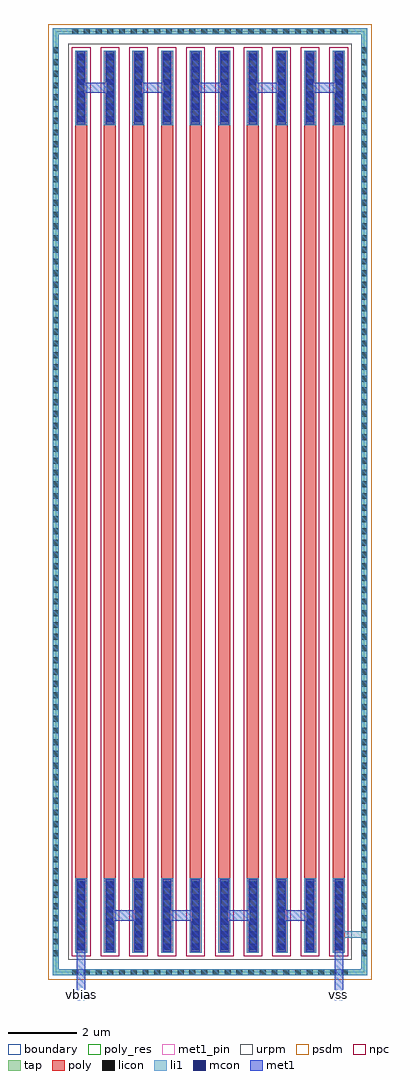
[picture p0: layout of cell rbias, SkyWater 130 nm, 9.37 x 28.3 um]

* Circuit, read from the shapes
.subckt rbias vbias vss
XR1 sky130_fd_pr__res_xhigh_po_0p35_7TSF23_0/R1_0 vbias vss sky130_fd_pr__res_xhigh_po w=0.35 l=21.88
XR2 sky130_fd_pr__res_xhigh_po_0p35_7TSF23_0/R1_0 sky130_fd_pr__res_xhigh_po_0p35_7TSF23_0/R2_1 vss sky130_fd_pr__res_xhigh_po w=0.35 l=21.88
XR3 sky130_fd_pr__res_xhigh_po_0p35_7TSF23_0/R1_2 sky130_fd_pr__res_xhigh_po_0p35_7TSF23_0/R2_1 vss sky130_fd_pr__res_xhigh_po w=0.35 l=21.88
XR4 sky130_fd_pr__res_xhigh_po_0p35_7TSF23_0/R1_2 sky130_fd_pr__res_xhigh_po_0p35_7TSF23_0/R2_3 vss sky130_fd_pr__res_xhigh_po w=0.35 l=21.88
XR5 sky130_fd_pr__res_xhigh_po_0p35_7TSF23_0/R1_4 sky130_fd_pr__res_xhigh_po_0p35_7TSF23_0/R2_3 vss sky130_fd_pr__res_xhigh_po w=0.35 l=21.88
XR6 sky130_fd_pr__res_xhigh_po_0p35_7TSF23_0/R1_4 sky130_fd_pr__res_xhigh_po_0p35_7TSF23_0/R2_5 vss sky130_fd_pr__res_xhigh_po w=0.35 l=21.88
XR7 sky130_fd_pr__res_xhigh_po_0p35_7TSF23_0/R1_6 sky130_fd_pr__res_xhigh_po_0p35_7TSF23_0/R2_5 vss sky130_fd_pr__res_xhigh_po w=0.35 l=21.88
XR8 sky130_fd_pr__res_xhigh_po_0p35_7TSF23_0/R1_6 sky130_fd_pr__res_xhigh_po_0p35_7TSF23_0/R2_7 vss sky130_fd_pr__res_xhigh_po w=0.35 l=21.88
XR9 sky130_fd_pr__res_xhigh_po_0p35_7TSF23_0/R1_8 sky130_fd_pr__res_xhigh_po_0p35_7TSF23_0/R2_7 vss sky130_fd_pr__res_xhigh_po w=0.35 l=21.88
XR10 sky130_fd_pr__res_xhigh_po_0p35_7TSF23_0/R1_8 vss vss sky130_fd_pr__res_xhigh_po w=0.35 l=21.88
.ends

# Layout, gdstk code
import gdstk
lib = gdstk.Library(unit=1e-6, precision=1e-09)
def R(c, l, rs):  # rectangles x0, y0, x1, y1
    for r in rs: c.add(gdstk.rectangle(r[:2], r[2:], *l))
def A(c, l, x, y, w, h, nx, ny, dx, dy):  # array of equal rectangles
    R(c, l, [(x+i*dx, y+j*dy, x+i*dx+w, y+j*dy+h) for i in range(nx) for j in range(ny)])
tap = (65, 44)
poly_res = (66, 13)
poly = (66, 20)
licon = (66, 44)
li1 = (67, 20)
mcon = (67, 44)
met1_pin = (68, 16)
met1 = (68, 20)
urpm = (79, 20)
psdm = (94, 20)
npc = (95, 20)
boundary = (235, 4)

sky130_fd_pr__res_xhigh_ = lib.new_cell('sky130_fd_pr__res_xhigh_po_0p35_7TSF23')
R(sky130_fd_pr__res_xhigh_, tap, [(-4.56,-13.73,4.56,-13.56), (-4.56,-13.56,-4.39,13.56), (4.39,-13.56,4.56,13.56), (-4.56,13.56,4.56,13.73)])
A(sky130_fd_pr__res_xhigh_, poly_res, -3.91, -11, 0.35, 22, 10, 1, 0.83, 0)
A(sky130_fd_pr__res_xhigh_, poly, -3.91, -13.08, 0.35, 26.16, 10, 1, 0.83, 0)
A(sky130_fd_pr__res_xhigh_, licon, -3.995, -13.73, 0.17, 0.17, 24, 2, 0.34, 27.29)
A(sky130_fd_pr__res_xhigh_, licon, -4.56, -13.175, 0.17, 0.17, 1, 78, 0, 0.34)
A(sky130_fd_pr__res_xhigh_, licon, 4.39, -13.175, 0.17, 0.17, 1, 78, 0, 0.34)
A(sky130_fd_pr__res_xhigh_, licon, -3.83, -13, 0.19, 2, 10, 2, 0.83, 24)
A(sky130_fd_pr__res_xhigh_, li1, -3.91, -13.08, 0.35, 2.16, 10, 2, 0.83, 24)
R(sky130_fd_pr__res_xhigh_, li1, [(-4.56,-13.73,4.56,-13.56), (-4.56,-13.56,-4.39,13.56), (4.39,-13.56,4.56,13.56), (-4.56,13.56,4.56,13.73)])
A(sky130_fd_pr__res_xhigh_, mcon, -3.82, -12.985, 0.17, 0.17, 10, 6, 0.83, 0.36)
A(sky130_fd_pr__res_xhigh_, mcon, -3.82, 11.01, 0.17, 0.17, 10, 6, 0.83, 0.36)
A(sky130_fd_pr__res_xhigh_, met1, -3.86, -13.05, 0.25, 2.105, 10, 2, 0.83, 23.995)
R(sky130_fd_pr__res_xhigh_, urpm, [(-4.11,-13.28,4.11,13.28)])
R(sky130_fd_pr__res_xhigh_, psdm, [(-4.685,-13.855,4.685,13.855)])
A(sky130_fd_pr__res_xhigh_, npc, -4.005, -13.175, 0.54, 26.35, 10, 1, 0.83, 0)
R(sky130_fd_pr__res_xhigh_, boundary, [(-4.475,-13.645,4.475,13.645)])
sky130_fd_pr__res_xhigh_.add(gdstk.Label('B', (0,-13.645), layer=67, texttype=5))
sky130_fd_pr__res_xhigh_.add(gdstk.Label('R1_0', (-3.735,12.905), layer=67, texttype=5))
sky130_fd_pr__res_xhigh_.add(gdstk.Label('R2_0', (-3.735,-12.905), layer=67, texttype=5))
sky130_fd_pr__res_xhigh_.add(gdstk.Label('R1_1', (-2.905,12.905), layer=67, texttype=5))
sky130_fd_pr__res_xhigh_.add(gdstk.Label('R2_1', (-2.905,-12.905), layer=67, texttype=5))
sky130_fd_pr__res_xhigh_.add(gdstk.Label('R1_2', (-2.075,12.905), layer=67, texttype=5))
sky130_fd_pr__res_xhigh_.add(gdstk.Label('R2_2', (-2.075,-12.905), layer=67, texttype=5))
sky130_fd_pr__res_xhigh_.add(gdstk.Label('R1_3', (-1.245,12.905), layer=67, texttype=5))
sky130_fd_pr__res_xhigh_.add(gdstk.Label('R2_3', (-1.245,-12.905), layer=67, texttype=5))
sky130_fd_pr__res_xhigh_.add(gdstk.Label('R1_4', (-0.415,12.905), layer=67, texttype=5))
sky130_fd_pr__res_xhigh_.add(gdstk.Label('R2_4', (-0.415,-12.905), layer=67, texttype=5))
sky130_fd_pr__res_xhigh_.add(gdstk.Label('R1_5', (0.415,12.905), layer=67, texttype=5))
sky130_fd_pr__res_xhigh_.add(gdstk.Label('R2_5', (0.415,-12.905), layer=67, texttype=5))
sky130_fd_pr__res_xhigh_.add(gdstk.Label('R1_6', (1.245,12.905), layer=67, texttype=5))
sky130_fd_pr__res_xhigh_.add(gdstk.Label('R2_6', (1.245,-12.905), layer=67, texttype=5))
sky130_fd_pr__res_xhigh_.add(gdstk.Label('R1_7', (2.075,12.905), layer=67, texttype=5))
sky130_fd_pr__res_xhigh_.add(gdstk.Label('R2_7', (2.075,-12.905), layer=67, texttype=5))
sky130_fd_pr__res_xhigh_.add(gdstk.Label('R1_8', (2.905,12.905), layer=67, texttype=5))
sky130_fd_pr__res_xhigh_.add(gdstk.Label('R2_8', (2.905,-12.905), layer=67, texttype=5))
sky130_fd_pr__res_xhigh_.add(gdstk.Label('R1_9', (3.735,12.905), layer=67, texttype=5))
sky130_fd_pr__res_xhigh_.add(gdstk.Label('R2_9', (3.735,-12.905), layer=67, texttype=5))

rbias = lib.new_cell('rbias')
R(rbias, li1, [(8.26,1,9.035,1.2)])
R(rbias, met1_pin, [(0.7,-0.7,0.78,-0.6), (8.17,-0.7,8.25,-0.6)])
A(rbias, met1, 1.445, 1.5, 1.08, 0.3, 4, 1, 1.66, 0)
A(rbias, met1, 0.615, 25.5, 1.08, 0.3, 5, 1, 1.66, 0)
R(rbias, met1, [(0.615,-0.8,0.865,1.3), (8.085,-0.8,8.335,1.3)])
rbias.add(gdstk.Reference(sky130_fd_pr__res_xhigh_, (4.475,13.645)))
rbias.add(gdstk.Label('vbias', (0.74,-0.65), layer=68, texttype=5))
rbias.add(gdstk.Label('vss', (8.21,-0.65), layer=68, texttype=5))

lib.write_gds('rbias.gds')
